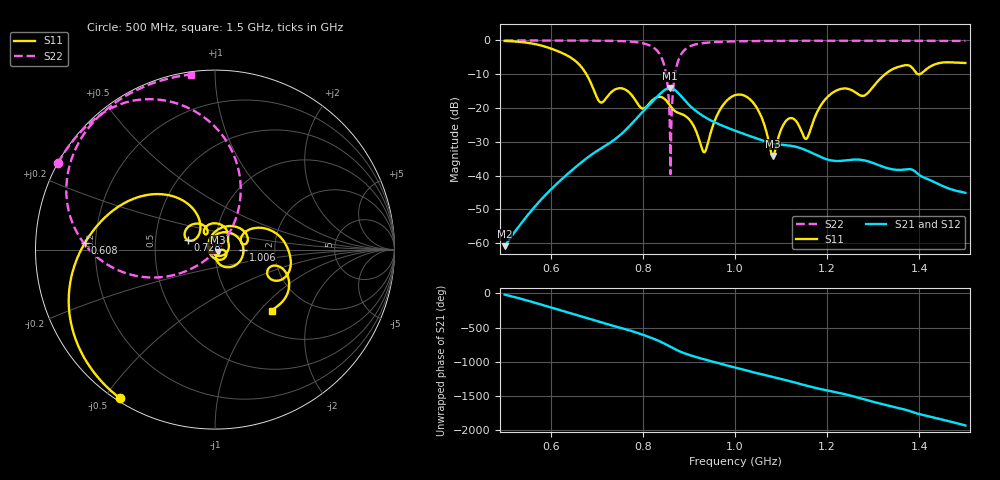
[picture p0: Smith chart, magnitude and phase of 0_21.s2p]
! TOUCHSTONE file generated by CST MICROWAVE STUDIO
! Date and time: Mon Sep 28 14:09:32 2020
! Project name: Scenario_1_Free_SPace.cst
! Parameters = {dx1=520; L_HA=400; MT=2.54; Rad_Dielectric=30; Rad_Lower=7.3; Rad_Upper=30; a_HA=580; a_WG=246; b_HA=500; b_WG=121; c_HA=0; c_WG=187; d_feed=85; h_feed=15; h_lower=18; h_upper=40}
! Header version: 2018
! Port assignment regex: !\s*Touchstone port\s*([0-9]+)\s*=\s*(CST MWS port|CST DS port)\s*([0-9]+|Zmin|Zmax)\s*\(\"(.*)\"\)(\s*mode\s*([0-9]+))?.*
! Touchstone port assignment:
! Touchstone port 1 = CST MWS port 1 ("")
! Touchstone port 2 = CST MWS port 2 ("")
# GHz S DB R 50
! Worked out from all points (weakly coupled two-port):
!   1003 points, 500 MHz to 1.5 GHz, reference 50 ohm
!   highest |S21| = -14.08 dB at 859 MHz (marker M1); lowest = -60.9 dB at 500 MHz (marker M2)
!   lowest |S11| = -34.2 dB at 1.082 GHz (marker M3), VSWR 1.04, Z = 51.5 - j1.31 ohm
!   |S11| at or under -10 dB: 677.5 MHz to 1.326 GHz (648.3 MHz wide, 64.7 % of centre); 1.397229 GHz to 1.400896 GHz (3.667 MHz wide, 0.262 % of centre)
!   |S22| runs from -39.5 to 0.0 dB; largest |S21 - S12| = 1.4e-05
!   S11 on the Smith chart (normalised r, x): 500 MHz: 0.01, -0.55; 608 MHz: 0.16, +0.02; 728 MHz: 0.73, +0.08; 1.006 GHz: 1.38, +0.00; 1.5 GHz: 1.35, -1.17
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0.5  -0.15 -122.7  -60.87 -17.4  -60.87 -17.4  -0.01 151.1
0.608  -2.78 177.1  -43.09 138.8  -43.09 138.8  -0.02 143.5
0.667  -7.92 130.8  -36.01 20.9  -36.01 20.9  -0.04 138.3
0.706  -18.12 135.3  -32.22 -58.4  -32.22 -58.4  -0.08 134.1
0.728  -15.79 160.7  -30.33 -101.0  -30.33 -101.0  -0.11 131.1
0.834  -16.68 94.7  -16.26 25.0  -16.26 25.0  -3.52 88.6
0.849  -17.55 64.3  -14.52 -22.9  -14.52 -22.9  -8.92 66.4
0.859  -19.27 47.6  -14.08 -58.8  -14.08 -58.8  -27.68 36.3
0.881  -21.62 24.2  -16.17 -132.7  -16.17 -132.7  -4.65 -170.5
0.933  -33.09 -144.1  -22.54 114.3  -22.54 114.3  -0.74 153.6
0.966  -20.84 78.6  -24.84 54.2  -24.84 54.2  -0.42 145.7
1  -16.20 11.2  -26.69 -6.2  -26.69 -6.2  -0.27 140.3
1.006  -16.02 0.1  -27.00 -16.7  -27.00 -16.7  -0.25 139.5
1.048  -20.09 -66.7  -29.04 -88.9  -29.04 -88.9  -0.17 134.7
1.082  -34.21 -40.7  -30.48 -144.0  -30.48 -144.0  -0.14 131.3
1.115  -23.27 -22.9  -31.05 161.2  -31.05 161.2  -0.12 128.4
1.153  -29.11 -153.7  -32.43 92.2  -32.43 92.2  -0.10 125.3
1.167  -25.06 128.5  -33.29 68.2  -33.29 68.2  -0.10 124.2
1.211  -15.55 51.0  -35.55 3.3  -35.55 3.3  -0.09 120.8
1.281  -16.29 20.8  -35.50 -113.2  -35.50 -113.2  -0.09 115.5
1.334  -9.16 15.6  -37.91 154.9  -37.91 154.9  -0.09 111.5
1.5  -6.67 -47.0  -45.08 -134.1  -45.06 -134.2  -0.14 97.9
